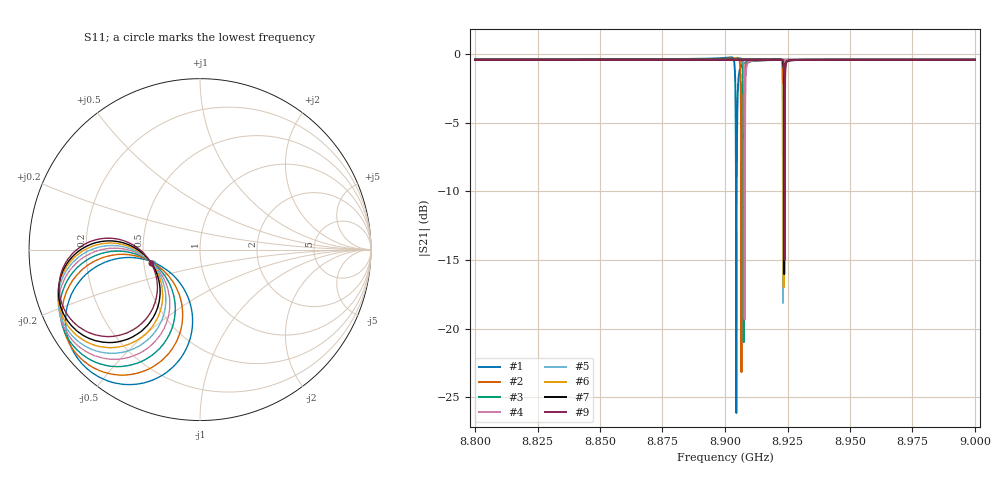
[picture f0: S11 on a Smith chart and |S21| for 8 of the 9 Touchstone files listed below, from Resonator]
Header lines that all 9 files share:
! Sonnet Data File
! From: emgraph Version : 16.52
! From Project: Resonator2
! Data is De-embedded
! Data File Written: 10/05/2017 10:46:05
!< HDATE 10/04/2017 20:26:48
!< MDATE 10/05/2017 00:36:07
!< PARAMS
!< END PARAMS
# GHZ S MA R 50.00000
Fixed: Length = 400.0, Pwid1 = 2000.0, Pwid2 = 2000.0
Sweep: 8.8 GHz to 9 GHz
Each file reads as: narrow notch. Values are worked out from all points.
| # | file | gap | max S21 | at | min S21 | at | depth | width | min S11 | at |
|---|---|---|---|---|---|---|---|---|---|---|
| 1 | Oddd_bx3000y7000_p2000_param04.s2p | 26.0 | -0.22 dB | 8.9024 GHz | -26.2 dB | 8.9045 GHz | 25.8 dB | 181 kHz | -13.3 dB | 8.9026 GHz |
| 2 | Oddd_bx3000y7000_p2000_param05.s2p | 36.0 | -0.27 dB | 8.9048 GHz | -23.2 dB | 8.9066 GHz | 22.8 dB | 153 kHz | -12.4 dB | 8.905 GHz |
| 3 | Oddd_bx3000y7000_p2000_param06.s2p | 46.0 | -0.31 dB | 8.9059 GHz | -21.0 dB | 8.9075 GHz | 20.6 dB | 135 kHz | -11.8 dB | 8.9061 GHz |
| 4 | Oddd_bx3000y7000_p2000_param07.s2p | 56.0 | -0.34 dB | 8.9064 GHz | -19.4 dB | 8.9079 GHz | 19.0 dB | 122 kHz | -11.4 dB | 8.9066 GHz |
| 5 | Oddd_bx3000y7000_p2000_param08.s2p | 66.0 | -0.35 dB | 8.9216 GHz | -18.1 dB | 8.9232 GHz | 17.7 dB | 114 kHz | -11.2 dB | 8.9219 GHz |
| 6 | Oddd_bx3000y7000_p2000_param09.s2p | 76.0 | -0.37 dB | 8.9218 GHz | -17.0 dB | 8.9234 GHz | 16.6 dB | 107 kHz | -11.0 dB | 8.9221 GHz |
| 7 | Oddd_bx3000y7000_p2000_param10.s2p | 86.0 | -0.38 dB | 8.9219 GHz | -16.0 dB | 8.9237 GHz | 15.6 dB | 102 kHz | -10.8 dB | 8.9223 GHz |
| 8 | Oddd_bx3000y7000_p2000_param11.s2p | 96.0 | -0.39 dB | 8.92188 GHz | -15.2 dB | 8.92382 GHz | 14.8 dB | 96.7 kHz | -10.7 dB | 8.92232 GHz |
| 9 | Oddd_bx3000y7000_p2000_param12.s2p | 100.0 | -0.39 dB | 8.9218 GHz | -15.0 dB | 8.9239 GHz | 14.6 dB | 94.7 kHz | -10.7 dB | 8.9223 GHz |
